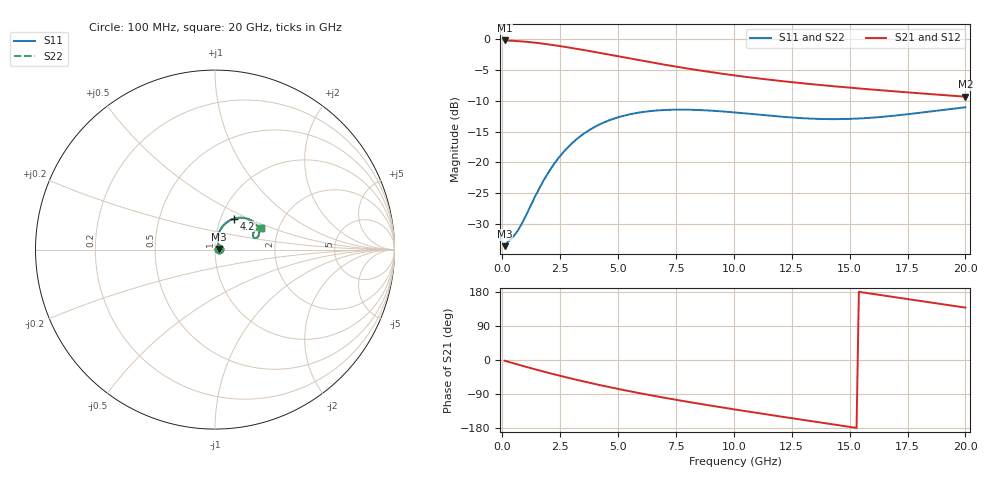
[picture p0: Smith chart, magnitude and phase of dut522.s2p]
! Touchstone file exported from HFSS 2024.1.0
!  File:  C:/UserFiles/LocalFiles/RDL_TSV_Batchsim/temp_RDL_TSV_522_1779742622.aedt
!  Generated:  05:09:22 AM May 26, 2026
!  Design:  RDL_TSV
!  Project:  temp_RDL_TSV_522_1779742622
!  Setup:  Setup1
!  Solution:  Sweep
! Variables:
!  dtsv = 8.91um
!  hbump = 3um
!  htsv = 65.64um
!  ldown = 446.82um
!  lrdl = 504.56um
!  p = 40
!  p1 = 42.88um
!  rhole = 10um
!  subl = 3358.7um
!  t = 450um
!  tdown = 3.31um
!  trdl = 3.58um
!  viad = 10um
!  wdown = 11.76um
!  wrdl = 25.73um
!  xbump = 18um
# GHz S MA R 50.000000
! Terminal data exported
! Port[1] = TM1_1_T1
! Port[2] = TM1_4_T1
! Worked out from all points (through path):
!   200 points, 100 MHz to 20 GHz, reference 50 ohm
!   highest |S21| = -0.18 dB at 100 MHz (marker M1); lowest = -9.3 dB at 20 GHz (marker M2)
!   group delay of S21, straight-line fit = 29.2 ps
!   lowest |S11| = -33.6 dB at 100 MHz (marker M3), VSWR 1.04, Z = 52.1 + j0.401 ohm
!   |S11| at or under -10 dB: start of sweep to end of sweep
!   |S22| runs from -33.6 to -11.0 dB; largest |S21 - S12| = 3e-14
!   S11 on the Smith chart (normalised r, x): 100 MHz: 1.04, +0.01; 4.2 GHz: 1.16, +0.42; 20 GHz: 1.61, +0.42
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0.1  0.0209 10.6  0.9792 -1.8  0.9792 -1.8  0.0209 10.6
! Gamma 0 0 0 0
! Port Impedance 50 0 50 0
0.7  0.02861 46.8  0.9664 -12.4  0.9664 -12.4  0.02862 46.9
1.2  0.04356 67.9  0.9487 -21.0  0.9487 -21.0  0.04357 67.9
1.8  0.0723 76.6  0.9202 -30.8  0.9202 -30.8  0.07234 76.7
2.2  0.09514 76.6  0.8983 -37.2  0.8983 -37.2  0.09523 76.7
2.6  0.119 74.3  0.8749 -43.3  0.8749 -43.3  0.1191 74.4
3  0.1425 70.8  0.8507 -49.2  0.8507 -49.2  0.1427 70.9
3.5  0.1702 65.6  0.8198 -56.4  0.8198 -56.4  0.1705 65.7
4.2  0.2035 57.9  0.7765 -66.0  0.7765 -66.0  0.2039 58.0
4.8  0.2263 51.5  0.7402 -73.8  0.7402 -73.8  0.2268 51.6
5.4  0.2436 45.5  0.7055 -81.2  0.7055 -81.2  0.2441 45.7
6.1  0.2574 39.2  0.6674 -89.5  0.6674 -89.5  0.258 39.3
6.8  0.2654 33.6  0.6323 -97.4  0.6323 -97.4  0.266 33.8
7.6  0.2686 28.2  0.596 -106.1  0.596 -106.1  0.2693 28.4
8.4  0.2671 23.8  0.5637 -114.3  0.5637 -114.3  0.2678 23.9
10.1  0.2543 17.6  0.5072 -131.1  0.5072 -131.1  0.2551 17.8
11.7  0.2385 15.7  0.4661 -146.2  0.4661 -146.2  0.2393 15.8
13.4  0.2267 17.3  0.4316 -161.9  0.4316 -161.9  0.2275 17.4
15  0.2258 20.8  0.4051 -176.5  0.4051 -176.5  0.2267 20.9
16.7  0.2374 24.3  0.3811 168.0  0.3811 168.0  0.2383 24.5
18.4  0.2582 25.8  0.36 152.6  0.36 152.6  0.2591 26.0
20  0.2806 25.2  0.3422 138.3  0.3422 138.3  0.2816 25.4
